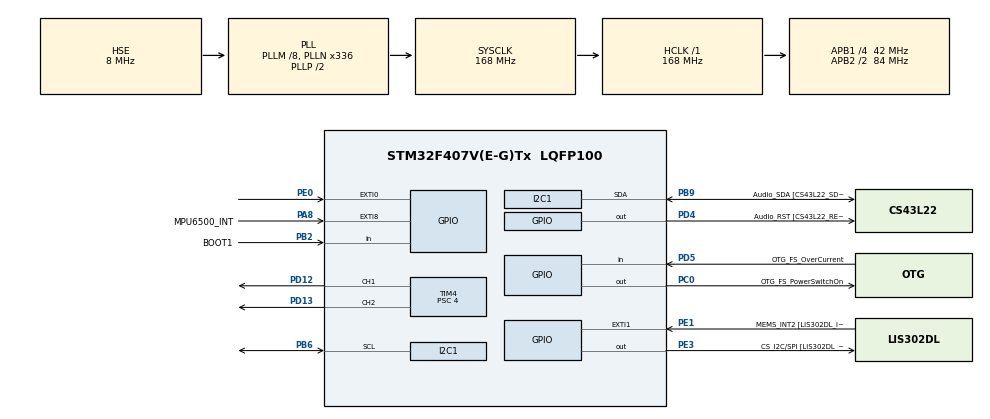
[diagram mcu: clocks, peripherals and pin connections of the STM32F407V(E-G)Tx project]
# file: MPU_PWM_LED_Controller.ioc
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FREERTOS.Tasks01=defaultTask,24,128,StartDefaultTask,Default,NULL,Dynamic,NULL,NULL;Sensor_Read,24,128,Sensor_Read_Task,Default,NULL,Dynamic,NULL,NULL;PWM_Control,40,128,PWM_Control_Task,Default,NULL,Dynamic,NULL,NULL
FREERTOS.configUSE_NEWLIB_REENTRANT=1
Mcu.Family=STM32F4
Mcu.Name=STM32F407V(E-G)Tx
Mcu.Package=LQFP100
NVIC.EXTI0_IRQn=true\:5\:0\:false\:false\:true\:true\:true\:true\:true
NVIC.EXTI9_5_IRQn=true\:5\:0\:false\:false\:true\:false\:true\:true\:true
NVIC.PriorityGroup=NVIC_PRIORITYGROUP_4
NVIC.TIM4_IRQn=true\:5\:0\:false\:false\:true\:true\:true\:true\:true
NVIC.TIM6_DAC_IRQn=true\:15\:0\:false\:false\:true\:false\:false\:true\:true
NVIC.TimeBase=TIM6_DAC_IRQn
NVIC.TimeBaseIP=TIM6
PA10.GPIO_Label=OTG_FS_ID
PA10.GPIO_Mode=GPIO_MODE_AF_PP
PA10.GPIO_PuPd=GPIO_NOPULL
PA10.GPIO_Speed=GPIO_SPEED_FREQ_LOW
PA10.Signal=USB_OTG_FS_ID
PA11.GPIO_Label=OTG_FS_DM
PA11.GPIO_Mode=GPIO_MODE_AF_PP
PA11.GPIO_PuPd=GPIO_NOPULL
PA11.GPIO_Speed=GPIO_SPEED_FREQ_LOW
PA11.Signal=USB_OTG_FS_DM
PA12.GPIO_Label=OTG_FS_DP
PA12.GPIO_Mode=GPIO_MODE_AF_PP
PA12.GPIO_PuPd=GPIO_NOPULL
PA12.GPIO_Speed=GPIO_SPEED_FREQ_LOW
PA12.Signal=USB_OTG_FS_DP
PA13.GPIO_Label=SWDIO
PA13.Signal=SYS_JTMS-SWDIO
PA14.GPIO_Label=SWCLK
PA14.Signal=SYS_JTCK-SWCLK
PA4.GPIO_Label=I2S3_WS [CS43L22_LRCK]
PA4.GPIO_Mode=GPIO_MODE_AF_PP
PA4.GPIO_PuPd=GPIO_NOPULL
PA4.GPIO_Speed=GPIO_SPEED_FREQ_LOW
PA4.Signal=I2S3_WS
PA5.GPIO_Label=SPI1_SCK [LIS302DL_SCL/SPC]
PA5.GPIO_Mode=GPIO_MODE_AF_PP
PA5.GPIO_PuPd=GPIO_NOPULL
PA5.GPIO_Speed=GPIO_SPEED_FREQ_LOW
PA5.Signal=SPI1_SCK
PA6.GPIO_Label=SPI1_MISO [LIS302DL_SDO]
PA6.GPIO_Mode=GPIO_MODE_AF_PP
PA6.GPIO_PuPd=GPIO_NOPULL
PA6.GPIO_Speed=GPIO_SPEED_FREQ_LOW
PA6.Signal=SPI1_MISO
PA7.GPIO_Label=SPI1_MOSI [LIS302DL_SDA/SDI/SDO]
PA7.GPIO_Mode=GPIO_MODE_AF_PP
PA7.GPIO_PuPd=GPIO_NOPULL
PA7.GPIO_Speed=GPIO_SPEED_FREQ_LOW
PA7.Signal=SPI1_MOSI
PA8.GPIO_Label=MPU6500_INT
PA8.GPIO_ModeDefaultEXTI=GPIO_MODE_IT_RISING
PA8.Signal=GPXTI8
PA9.GPIO_Label=VBUS_FS
PA9.GPIO_Mode=GPIO_MODE_INPUT
PA9.GPIO_PuPd=GPIO_NOPULL
PA9.Signal=USB_OTG_FS_VBUS
PB10.GPIO_Label=CLK_IN [MP45DT02_CLK]
PB10.GPIO_Mode=GPIO_MODE_AF_PP
PB10.GPIO_PuPd=GPIO_NOPULL
PB10.GPIO_Speed=GPIO_SPEED_FREQ_LOW
PB10.Signal=I2S2_CK
PB2.GPIO_Label=BOOT1
PB2.GPIO_Mode=GPIO_MODE_INPUT
PB2.GPIO_PuPd=GPIO_NOPULL
PB2.Signal=GPIO_Input
PB3.GPIO_Label=SWO
PB3.Signal=SYS_JTDO-SWO
PB6.Mode=I2C
PB6.Signal=I2C1_SCL
PB9.GPIO_Label=Audio_SDA [CS43L22_SDA]
PB9.GPIO_Mode=GPIO_MODE_AF_OD
PB9.GPIO_PuPd=GPIO_NOPULL
PB9.GPIO_Speed=GPIO_SPEED_FREQ_LOW
PB9.Mode=I2C
PB9.Signal=I2C1_SDA
PC0.GPIO_Label=OTG_FS_PowerSwitchOn
PC0.GPIO_PuPd=GPIO_NOPULL
PC0.GPIO_Speed=GPIO_SPEED_FREQ_LOW
PC0.PinState=GPIO_PIN_SET
PC0.Signal=GPIO_Output
PC10.GPIO_Label=I2S3_SCK [CS43L22_SCLK]
PC10.GPIO_Mode=GPIO_MODE_AF_PP
PC10.GPIO_PuPd=GPIO_NOPULL
PC10.GPIO_Speed=GPIO_SPEED_FREQ_LOW
PC10.Signal=I2S3_CK
PC12.GPIO_Label=I2S3_SD [CS43L22_SDIN]
PC12.GPIO_Mode=GPIO_MODE_AF_PP
PC12.GPIO_PuPd=GPIO_NOPULL
PC12.GPIO_Speed=GPIO_SPEED_FREQ_LOW
PC12.Signal=I2S3_SD
PC14-OSC32_IN.GPIO_Label=PC14-OSC32_IN
PC14-OSC32_IN.Signal=RCC_OSC32_IN
PC15-OSC32_OUT.GPIO_Label=PC15-OSC32_OUT
PC15-OSC32_OUT.Signal=RCC_OSC32_OUT
PC3.GPIO_Label=PDM_OUT [MP45DT02_DOUT]
PC3.GPIO_Mode=GPIO_MODE_AF_PP
PC3.GPIO_PuPd=GPIO_NOPULL
PC3.GPIO_Speed=GPIO_SPEED_FREQ_LOW
PC3.Signal=I2S2_SD
PC7.GPIO_Label=I2S3_MCK [CS43L22_MCLK]
PC7.GPIO_Mode=GPIO_MODE_AF_PP
PC7.GPIO_PuPd=GPIO_NOPULL
PC7.GPIO_Speed=GPIO_SPEED_FREQ_LOW
PC7.Signal=I2S3_MCK
PD12.Signal=S_TIM4_CH1
PD13.Signal=S_TIM4_CH2
PD4.GPIO_Label=Audio_RST [CS43L22_RESET]
PD4.GPIO_PuPd=GPIO_NOPULL
PD4.GPIO_Speed=GPIO_SPEED_FREQ_LOW
PD4.Signal=GPIO_Output
PD5.GPIO_Label=OTG_FS_OverCurrent
PD5.GPIO_Mode=GPIO_MODE_INPUT
PD5.GPIO_PuPd=GPIO_NOPULL
PD5.Signal=GPIO_Input
PE0.Signal=GPXTI0
PE1.GPIO_Label=MEMS_INT2 [LIS302DL_INT2]
PE1.GPIO_ModeDefaultEXTI=GPIO_MODE_EVT_RISING
PE1.GPIO_PuPd=GPIO_NOPULL
PE1.Signal=GPXTI1
PE3.GPIO_Label=CS_I2C/SPI [LIS302DL_CS_I2C/SPI]
PE3.GPIO_PuPd=GPIO_NOPULL
PE3.GPIO_Speed=GPIO_SPEED_FREQ_LOW
PE3.PinState=GPIO_PIN_SET
PE3.Signal=GPIO_Output
PH0-OSC_IN.GPIO_Label=PH0-OSC_IN
PH0-OSC_IN.Mode=HSE-External-Clock-Source
PH0-OSC_IN.Signal=RCC_OSC_IN
PH1-OSC_OUT.GPIO_Label=PH1-OSC_OUT
PH1-OSC_OUT.Mode=HSE-External-Clock-Source
PH1-OSC_OUT.Signal=RCC_OSC_OUT
ProjectManager.HeapSize=0x200
ProjectManager.StackSize=0x400
ProjectManager.TargetToolchain=STM32CubeIDE
RCC.48MHZClocksFreq_Value=48000000
RCC.AHBFreq_Value=168000000
RCC.APB1CLKDivider=RCC_HCLK_DIV4
RCC.APB1Freq_Value=42000000
RCC.APB1TimFreq_Value=84000000
RCC.APB2CLKDivider=RCC_HCLK_DIV2
RCC.APB2Freq_Value=84000000
RCC.APB2TimFreq_Value=168000000
RCC.CortexFreq_Value=168000000
RCC.HCLKFreq_Value=168000000
RCC.HSE_VALUE=8000000
RCC.HSI_VALUE=16000000
RCC.LSE_VALUE=32768
RCC.PLLM=8
RCC.PLLN=336
RCC.PLLQ=7
RCC.PLLSourceVirtual=RCC_PLLSOURCE_HSE
RCC.SYSCLKFreq_VALUE=168000000
RCC.SYSCLKSource=RCC_SYSCLKSOURCE_PLLCLK
RCC.VCOOutputFreq_Value=336000000
SH.S_TIM4_CH1.0=TIM4_CH1,PWM Generation1 CH1
SH.S_TIM4_CH2.0=TIM4_CH2,PWM Generation2 CH2
TIM4.Channel-PWM\ Generation1\ CH1=TIM_CHANNEL_1
TIM4.Channel-PWM\ Generation2\ CH2=TIM_CHANNEL_2
TIM4.Period=8400
TIM4.Prescaler=4
TIM4.Pulse-PWM\ Generation1\ CH1=3360
TIM4.Pulse-PWM\ Generation2\ CH2=4000
TIM4.TIM_MasterOutputTrigger=TIM_TRGO_UPDATE
VP_FREERTOS_VS_CMSIS_V2.Mode=CMSIS_V2
VP_SYS_VS_tim6.Mode=TIM6
VP_TIM4_VS_ClockSourceINT.Mode=Internal
board=STM32F407G-DISC1

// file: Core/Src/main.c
/* USER CODE BEGIN Header */
/**
  ******************************************************************************
  * @file           : main.c
  * @brief          : Main program body
  ******************************************************************************
  * @attention
  *
  * Copyright (c) 2026 STMicroelectronics.
  * All rights reserved.
  *
  * This software is licensed under terms that can be found in the LICENSE file
  * in the root directory of this software component.
  * If no LICENSE file comes with this software, it is provided AS-IS.
  *
  ******************************************************************************
  */
/* USER CODE END Header */
#include "main.h"
#include "cmsis_os.h"

/* USER CODE BEGIN Includes */
#include "kalman_filter.h"
#include "mpu6500.h"
#include <stdlib.h>
#include <math.h>
#include <limits.h>
/* USER CODE END Includes */

/* USER CODE BEGIN PM */
#define PWM_PULSE_MIN 0
#define PWM_PULSE_MAX 40
#define ANGLE_POS_MIN 0
#define ANGLE_POX_MAX 90
/* USER CODE END PM */

I2C_HandleTypeDef hi2c1;

TIM_HandleTypeDef htim4;

/* Definitions for defaultTask */
osThreadId_t defaultTaskHandle;
const osThreadAttr_t defaultTask_attributes = {
  .name = "defaultTask",
  .stack_size = 128 * 4,
  .priority = (osPriority_t) osPriorityNormal,
};
/* Definitions for Sensor_Read */
osThreadId_t Sensor_ReadHandle;
const osThreadAttr_t Sensor_Read_attributes = {
  .name = "Sensor_Read",
  .stack_size = 128 * 4,
  .priority = (osPriority_t) osPriorityNormal,
};
/* Definitions for PWM_Control */
osThreadId_t PWM_ControlHandle;
const osThreadAttr_t PWM_Control_attributes = {
  .name = "PWM_Control",
  .stack_size = 128 * 4,
  .priority = (osPriority_t) osPriorityHigh,
};
/* USER CODE BEGIN PV */
long map(long, long, long, long, long);
/* USER CODE END PV */

void SystemClock_Config(void);
static void MX_GPIO_Init(void);
static void MX_TIM4_Init(void);
static void MX_I2C1_Init(void);
void StartDefaultTask(void *argument);
void Sensor_Read_Task(void *argument);
void PWM_Control_Task(void *argument);

/* USER CODE BEGIN 0 */
uint32_t g_counter = 0;

volatile uint32_t g_counter_2_state = 8000;
volatile uint32_t g_counter_3_state = 4000;

const MPU6500_Accelerometer_Data_t g_error_data = {.x = -568, .y = 350, .z = 150};
/* USER CODE END 0 */

int main(void)
{

  /* MCU Configuration--------------------------------------------------------*/

  /* Reset of all peripherals, Initializes the Flash interface and the Systick. */
  HAL_Init();

  /* Configure the system clock */
  SystemClock_Config();

  /* Initialize all configured peripherals */
  MX_GPIO_Init();
  MX_TIM4_Init();
  MX_I2C1_Init();
  /* USER CODE BEGIN 2 */
  if (MPU6500_Init(&hi2c1, MPU6500_I2C_ADDR) != MPU6500_OK) {
	  Error_Handler();
  }
 if  (MPU6500_Disable_Interrupts(&hi2c1, ALL_INT) != MPU6500_OK) {
	 Error_Handler();
 }
 if (MPU6500_LowPassFilter_Config(&hi2c1, 6) != MPU6500_OK) {
	 Error_Handler();
 }
 if  (MPU6500_Interrupt_Config(&hi2c1, INT_LEVEL_ACTIVE_HIGH) != MPU6500_OK) {
	 Error_Handler();
 }
 if  (MPU6500_Enable_Interrupts(&hi2c1, RAW_RDY_INT) != MPU6500_OK) {
	 Error_Handler();
 }

  __HAL_TIM_ENABLE_IT(&htim4, TIM_IT_UPDATE);
  if (HAL_TIM_PWM_Start_IT(&htim4, TIM_CHANNEL_1) != HAL_OK) {
	  Error_Handler();
  }
  if (HAL_TIM_PWM_Start_IT(&htim4, TIM_CHANNEL_2) != HAL_OK) {
	  Error_Handler();
  }
  /* USER CODE END 2 */

  /* Init scheduler */
  osKernelInitialize();

  /* Create the thread(s) */
  /* creation of defaultTask */
  defaultTaskHandle = osThreadNew(StartDefaultTask, NULL, &defaultTask_attributes);

  /* creation of Sensor_Read */
  Sensor_ReadHandle = osThreadNew(Sensor_Read_Task, NULL, &Sensor_Read_attributes);

  /* creation of PWM_Control */
  PWM_ControlHandle = osThreadNew(PWM_Control_Task, NULL, &PWM_Control_attributes);

  /* Start scheduler */
  osKernelStart();

  /* We should never get here as control is now taken by the scheduler */

  /* Infinite loop */
  /* USER CODE BEGIN WHILE */

  while (1)
  {

	//HAL_Delay(500);
//	g_counter_2_state = __HAL_TIM_GET_COMPARE(&htim4, TIM_CHANNEL_1);
//	g_counter_3_state = __HAL_TIM_GET_COMPARE(&htim4, TIM_CHANNEL_2);
    /* USER CODE END WHILE */

  }
}

void SystemClock_Config(void)
{
  RCC_OscInitTypeDef RCC_OscInitStruct = {0};
  RCC_ClkInitTypeDef RCC_ClkInitStruct = {0};

  /** Configure the main internal regulator output voltage
  */
  __HAL_RCC_PWR_CLK_ENABLE();
  __HAL_PWR_VOLTAGESCALING_CONFIG(PWR_REGULATOR_VOLTAGE_SCALE1);

  /** Initializes the RCC Oscillators according to the specified parameters
  * in the RCC_OscInitTypeDef structure.
  */
  RCC_OscInitStruct.OscillatorType = RCC_OSCILLATORTYPE_HSE;
  RCC_OscInitStruct.HSEState = RCC_HSE_BYPASS;
  RCC_OscInitStruct.PLL.PLLState = RCC_PLL_ON;
  RCC_OscInitStruct.PLL.PLLSource = RCC_PLLSOURCE_HSE;
  RCC_OscInitStruct.PLL.PLLM = 8;
  RCC_OscInitStruct.PLL.PLLN = 336;
  RCC_OscInitStruct.PLL.PLLP = RCC_PLLP_DIV2;
  RCC_OscInitStruct.PLL.PLLQ = 7;
  if (HAL_RCC_OscConfig(&RCC_OscInitStruct) != HAL_OK)
  {
    Error_Handler();
  }

  /** Initializes the CPU, AHB and APB buses clocks
  */
  RCC_ClkInitStruct.ClockType = RCC_CLOCKTYPE_HCLK|RCC_CLOCKTYPE_SYSCLK
                              |RCC_CLOCKTYPE_PCLK1|RCC_CLOCKTYPE_PCLK2;
  RCC_ClkInitStruct.SYSCLKSource = RCC_SYSCLKSOURCE_PLLCLK;
  RCC_ClkInitStruct.AHBCLKDivider = RCC_SYSCLK_DIV1;
  RCC_ClkInitStruct.APB1CLKDivider = RCC_HCLK_DIV4;
  RCC_ClkInitStruct.APB2CLKDivider = RCC_HCLK_DIV2;

  if (HAL_RCC_ClockConfig(&RCC_ClkInitStruct, FLASH_LATENCY_5) != HAL_OK)
  {
    Error_Handler();
  }
}

static void MX_I2C1_Init(void)
{

  hi2c1.Instance = I2C1;
  hi2c1.Init.ClockSpeed = 100000;
  hi2c1.Init.DutyCycle = I2C_DUTYCYCLE_2;
  hi2c1.Init.OwnAddress1 = 0;
  hi2c1.Init.AddressingMode = I2C_ADDRESSINGMODE_7BIT;
  hi2c1.Init.DualAddressMode = I2C_DUALADDRESS_DISABLE;
  hi2c1.Init.OwnAddress2 = 0;
  hi2c1.Init.GeneralCallMode = I2C_GENERALCALL_DISABLE;
  hi2c1.Init.NoStretchMode = I2C_NOSTRETCH_DISABLE;
  if (HAL_I2C_Init(&hi2c1) != HAL_OK)
  {
    Error_Handler();
  }

}

static void MX_TIM4_Init(void)
{

  TIM_ClockConfigTypeDef sClockSourceConfig = {0};
  TIM_MasterConfigTypeDef sMasterConfig = {0};
  TIM_OC_InitTypeDef sConfigOC = {0};

  htim4.Instance = TIM4;
  htim4.Init.Prescaler = 4;
  htim4.Init.CounterMode = TIM_COUNTERMODE_UP;
  htim4.Init.Period = 8400;
  htim4.Init.ClockDivision = TIM_CLOCKDIVISION_DIV1;
  htim4.Init.AutoReloadPreload = TIM_AUTORELOAD_PRELOAD_DISABLE;
  if (HAL_TIM_Base_Init(&htim4) != HAL_OK)
  {
    Error_Handler();
  }
  sClockSourceConfig.ClockSource = TIM_CLOCKSOURCE_INTERNAL;
  if (HAL_TIM_ConfigClockSource(&htim4, &sClockSourceConfig) != HAL_OK)
  {
    Error_Handler();
  }
  if (HAL_TIM_PWM_Init(&htim4) != HAL_OK)
  {
    Error_Handler();
  }
  sMasterConfig.MasterOutputTrigger = TIM_TRGO_UPDATE;
  sMasterConfig.MasterSlaveMode = TIM_MASTERSLAVEMODE_DISABLE;
  if (HAL_TIMEx_MasterConfigSynchronization(&htim4, &sMasterConfig) != HAL_OK)
  {
    Error_Handler();
  }
  sConfigOC.OCMode = TIM_OCMODE_PWM1;
  sConfigOC.Pulse = 3360;
  sConfigOC.OCPolarity = TIM_OCPOLARITY_HIGH;
  sConfigOC.OCFastMode = TIM_OCFAST_DISABLE;
  if (HAL_TIM_PWM_ConfigChannel(&htim4, &sConfigOC, TIM_CHANNEL_1) != HAL_OK)
  {
    Error_Handler();
  }
  sConfigOC.Pulse = 4000;
  if (HAL_TIM_PWM_ConfigChannel(&htim4, &sConfigOC, TIM_CHANNEL_2) != HAL_OK)
  {
    Error_Handler();
  }
  HAL_TIM_MspPostInit(&htim4);

}

static void MX_GPIO_Init(void)
{
  GPIO_InitTypeDef GPIO_InitStruct = {0};

  /* GPIO Ports Clock Enable */
  __HAL_RCC_GPIOE_CLK_ENABLE();
  __HAL_RCC_GPIOC_CLK_ENABLE();
  __HAL_RCC_GPIOH_CLK_ENABLE();
  __HAL_RCC_GPIOA_CLK_ENABLE();
  __HAL_RCC_GPIOB_CLK_ENABLE();
  __HAL_RCC_GPIOD_CLK_ENABLE();

  /*Configure GPIO pin Output Level */
  HAL_GPIO_WritePin(CS_I2C_SPI_GPIO_Port, CS_I2C_SPI_Pin, GPIO_PIN_SET);

  /*Configure GPIO pin Output Level */
  HAL_GPIO_WritePin(OTG_FS_PowerSwitchOn_GPIO_Port, OTG_FS_PowerSwitchOn_Pin, GPIO_PIN_SET);

  /*Configure GPIO pin Output Level */
  HAL_GPIO_WritePin(Audio_RST_GPIO_Port, Audio_RST_Pin, GPIO_PIN_RESET);

  /*Configure GPIO pin : CS_I2C_SPI_Pin */
  GPIO_InitStruct.Pin = CS_I2C_SPI_Pin;
  GPIO_InitStruct.Mode = GPIO_MODE_OUTPUT_PP;
  GPIO_InitStruct.Pull = GPIO_NOPULL;
  GPIO_InitStruct.Speed = GPIO_SPEED_FREQ_LOW;
  HAL_GPIO_Init(CS_I2C_SPI_GPIO_Port, &GPIO_InitStruct);

  /*Configure GPIO pin : OTG_FS_PowerSwitchOn_Pin */
  GPIO_InitStruct.Pin = OTG_FS_PowerSwitchOn_Pin;
  GPIO_InitStruct.Mode = GPIO_MODE_OUTPUT_PP;
  GPIO_InitStruct.Pull = GPIO_NOPULL;
  GPIO_InitStruct.Speed = GPIO_SPEED_FREQ_LOW;
  HAL_GPIO_Init(OTG_FS_PowerSwitchOn_GPIO_Port, &GPIO_InitStruct);

  /*Configure GPIO pin : PDM_OUT_Pin */
  GPIO_InitStruct.Pin = PDM_OUT_Pin;
  GPIO_InitStruct.Mode = GPIO_MODE_AF_PP;
  GPIO_InitStruct.Pull = GPIO_NOPULL;
  GPIO_InitStruct.Speed = GPIO_SPEED_FREQ_LOW;
  GPIO_InitStruct.Alternate = GPIO_AF5_SPI2;
  HAL_GPIO_Init(PDM_OUT_GPIO_Port, &GPIO_InitStruct);

  /*Configure GPIO pin : I2S3_WS_Pin */
  GPIO_InitStruct.Pin = I2S3_WS_Pin;
  GPIO_InitStruct.Mode = GPIO_MODE_AF_PP;
  GPIO_InitStruct.Pull = GPIO_NOPULL;
  GPIO_InitStruct.Speed = GPIO_SPEED_FREQ_LOW;
  GPIO_InitStruct.Alternate = GPIO_AF6_SPI3;
  HAL_GPIO_Init(I2S3_WS_GPIO_Port, &GPIO_InitStruct);

  /*Configure GPIO pins : SPI1_SCK_Pin SPI1_MISO_Pin SPI1_MOSI_Pin */
  GPIO_InitStruct.Pin = SPI1_SCK_Pin|SPI1_MISO_Pin|SPI1_MOSI_Pin;
  GPIO_InitStruct.Mode = GPIO_MODE_AF_PP;
  GPIO_InitStruct.Pull = GPIO_NOPULL;
  GPIO_InitStruct.Speed = GPIO_SPEED_FREQ_LOW;
  GPIO_InitStruct.Alternate = GPIO_AF5_SPI1;
  HAL_GPIO_Init(GPIOA, &GPIO_InitStruct);

  /*Configure GPIO pin : BOOT1_Pin */
  GPIO_InitStruct.Pin = BOOT1_Pin;
  GPIO_InitStruct.Mode = GPIO_MODE_INPUT;
  GPIO_InitStruct.Pull = GPIO_NOPULL;
  HAL_GPIO_Init(BOOT1_GPIO_Port, &GPIO_InitStruct);

  /*Configure GPIO pin : CLK_IN_Pin */
  GPIO_InitStruct.Pin = CLK_IN_Pin;
  GPIO_InitStruct.Mode = GPIO_MODE_AF_PP;
  GPIO_InitStruct.Pull = GPIO_NOPULL;
  GPIO_InitStruct.Speed = GPIO_SPEED_FREQ_LOW;
  GPIO_InitStruct.Alternate = GPIO_AF5_SPI2;
  HAL_GPIO_Init(CLK_IN_GPIO_Port, &GPIO_InitStruct);

  /*Configure GPIO pins : I2S3_MCK_Pin I2S3_SCK_Pin I2S3_SD_Pin */
  GPIO_InitStruct.Pin = I2S3_MCK_Pin|I2S3_SCK_Pin|I2S3_SD_Pin;
  GPIO_InitStruct.Mode = GPIO_MODE_AF_PP;
  GPIO_InitStruct.Pull = GPIO_NOPULL;
  GPIO_InitStruct.Speed = GPIO_SPEED_FREQ_LOW;
  GPIO_InitStruct.Alternate = GPIO_AF6_SPI3;
  HAL_GPIO_Init(GPIOC, &GPIO_InitStruct);

  /*Configure GPIO pin : MPU6500_INT_Pin */
  GPIO_InitStruct.Pin = MPU6500_INT_Pin;
  GPIO_InitStruct.Mode = GPIO_MODE_IT_RISING;
  GPIO_InitStruct.Pull = GPIO_NOPULL;
  HAL_GPIO_Init(MPU6500_INT_GPIO_Port, &GPIO_InitStruct);

  /*Configure GPIO pin : VBUS_FS_Pin */
  GPIO_InitStruct.Pin = VBUS_FS_Pin;
  GPIO_InitStruct.Mode = GPIO_MODE_INPUT;
  GPIO_InitStruct.Pull = GPIO_NOPULL;
  HAL_GPIO_Init(VBUS_FS_GPIO_Port, &GPIO_InitStruct);

  /*Configure GPIO pins : OTG_FS_ID_Pin OTG_FS_DM_Pin OTG_FS_DP_Pin */
  GPIO_InitStruct.Pin = OTG_FS_ID_Pin|OTG_FS_DM_Pin|OTG_FS_DP_Pin;
  GPIO_InitStruct.Mode = GPIO_MODE_AF_PP;
  GPIO_InitStruct.Pull = GPIO_NOPULL;
  GPIO_InitStruct.Speed = GPIO_SPEED_FREQ_LOW;
  GPIO_InitStruct.Alternate = GPIO_AF10_OTG_FS;
  HAL_GPIO_Init(GPIOA, &GPIO_InitStruct);

  /*Configure GPIO pin : Audio_RST_Pin */
  GPIO_InitStruct.Pin = Audio_RST_Pin;
  GPIO_InitStruct.Mode = GPIO_MODE_OUTPUT_PP;
  GPIO_InitStruct.Pull = GPIO_NOPULL;
  GPIO_InitStruct.Speed = GPIO_SPEED_FREQ_LOW;
  HAL_GPIO_Init(Audio_RST_GPIO_Port, &GPIO_InitStruct);

  /*Configure GPIO pin : OTG_FS_OverCurrent_Pin */
  GPIO_InitStruct.Pin = OTG_FS_OverCurrent_Pin;
  GPIO_InitStruct.Mode = GPIO_MODE_INPUT;
  GPIO_InitStruct.Pull = GPIO_NOPULL;
  HAL_GPIO_Init(OTG_FS_OverCurrent_GPIO_Port, &GPIO_InitStruct);

  /*Configure GPIO pin : PE0 */
  GPIO_InitStruct.Pin = GPIO_PIN_0;
  GPIO_InitStruct.Mode = GPIO_MODE_IT_RISING;
  GPIO_InitStruct.Pull = GPIO_NOPULL;
  HAL_GPIO_Init(GPIOE, &GPIO_InitStruct);

  /*Configure GPIO pin : MEMS_INT2_Pin */
  GPIO_InitStruct.Pin = MEMS_INT2_Pin;
  GPIO_InitStruct.Mode = GPIO_MODE_EVT_RISING;
  GPIO_InitStruct.Pull = GPIO_NOPULL;
  HAL_GPIO_Init(MEMS_INT2_GPIO_Port, &GPIO_InitStruct);

  /* EXTI interrupt init*/
  HAL_NVIC_SetPriority(EXTI0_IRQn, 5, 0);
  HAL_NVIC_EnableIRQ(EXTI0_IRQn);

  HAL_NVIC_SetPriority(EXTI9_5_IRQn, 5, 0);
  HAL_NVIC_EnableIRQ(EXTI9_5_IRQn);

}

/* USER CODE BEGIN 4 */
long map(long x, long in_min, long in_max, long out_min, long out_max) {
	long res = (x - in_min) * (out_max - out_min) / (in_max - in_min) + out_min;
	if (res > out_max) return out_max;
	if (res < out_min) return out_min;
	return res;
}
/* USER CODE END 4 */

void StartDefaultTask(void *argument)
{
  for(;;)
  {
    osDelay(1);
  }
}

void Sensor_Read_Task(void *argument)
{
  /* USER CODE BEGIN Sensor_Read_Task */
  /* Infinite loop */
	MPU6500_Accelerometer_Data_t accel_data = {0};
	uint32_t accel_data_y_z = 0;

  for(;;)
  {
	if (MPU6500_Read_Accelerometer_Data(&hi2c1, MPU6500_I2C_ADDR, &accel_data) != MPU6500_OK) {
		Error_Handler();
	}
	accel_data = MPU6500_Accelerometer_Calibration(&g_error_data, &accel_data);
	accel_data_y_z = accel_data.y;
	accel_data_y_z = (accel_data_y_z << 16) | accel_data.z;
	// send notif to pwm task
	xTaskNotify((TaskHandle_t)PWM_ControlHandle, accel_data_y_z, eSetValueWithOverwrite);
	xTaskNotifyWait(0, 0, NULL, portMAX_DELAY);
	// enter blocked
  }
  /* USER CODE END Sensor_Read_Task */
}

void PWM_Control_Task(void *argument)
{
  /* USER CODE BEGIN PWM_Control_Task */
	/* Infinite loop */
	double roll_angle = 0, kalman_roll_angle = 0, delta_time = 0;
	uint32_t prev_tick = osKernelGetTickCount(), accel_data_y_z;
	MPU6500_Accelerometer_Data_t accel_data;
	KalmanFilter kf;
	kalman_filter_init(&kf);
	for(;;)
	{
		xTaskNotifyWait(0, ULONG_MAX, &accel_data_y_z, portMAX_DELAY);

		accel_data.z = (int16_t) accel_data_y_z & 0xFFFF;
		accel_data.y = (int16_t) (accel_data_y_z >> 16) & 0xFFFF;

		uint32_t current_tick = osKernelGetTickCount();
		delta_time = (current_tick - prev_tick) / 1000.0;
		prev_tick = current_tick;
		g_counter = __HAL_TIM_GET_COUNTER(&htim4);

		roll_angle = atan2(accel_data.y, accel_data.z) * (180.0 / M_PI);
		kalman_roll_angle = kalman_filter_get_angle(&kf, roll_angle, delta_time);
		int16_t filtered_angle = (int16_t) kalman_roll_angle;
		uint8_t channel = (filtered_angle < 0) ? TIM_CHANNEL_1 : TIM_CHANNEL_2;
		filtered_angle = abs(filtered_angle);
		uint32_t pwm_pulse = map(filtered_angle, ANGLE_POS_MIN, ANGLE_POX_MAX, PWM_PULSE_MIN, PWM_PULSE_MAX);
		__HAL_TIM_SET_COMPARE(&htim4, channel, pwm_pulse);
		//HAL_NVIC_EnableIRQ(EXTI9_5_IRQn);
	}
  /* USER CODE END PWM_Control_Task */
}

void HAL_TIM_PeriodElapsedCallback(TIM_HandleTypeDef *htim)
{
  /* USER CODE BEGIN Callback 0 */
	g_counter = 0;
	g_counter_2_state = 8000;
	g_counter_3_state = 4000;
  /* USER CODE END Callback 0 */
  if (htim->Instance == TIM6)
  {
    HAL_IncTick();
  }
}

void Error_Handler(void)
{
  __disable_irq();
  while (1)
  {
  }
}
